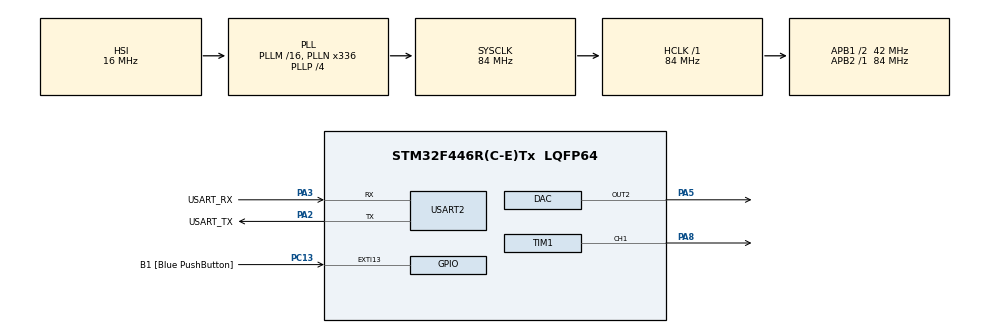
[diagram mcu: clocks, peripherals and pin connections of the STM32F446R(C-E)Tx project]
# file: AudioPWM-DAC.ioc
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DAC.DAC_Trigger2=DAC_TRIGGER_T6_TRGO
Dma.DAC2.1.Direction=DMA_MEMORY_TO_PERIPH
Dma.DAC2.1.FIFOMode=DMA_FIFOMODE_DISABLE
Dma.DAC2.1.Instance=DMA1_Stream6
Dma.DAC2.1.MemDataAlignment=DMA_MDATAALIGN_HALFWORD
Dma.DAC2.1.MemInc=DMA_MINC_ENABLE
Dma.DAC2.1.Mode=DMA_CIRCULAR
Dma.DAC2.1.PeriphDataAlignment=DMA_PDATAALIGN_HALFWORD
Dma.DAC2.1.PeriphInc=DMA_PINC_DISABLE
Dma.DAC2.1.Priority=DMA_PRIORITY_LOW
Dma.Request0=USART2_RX
Dma.Request1=DAC2
Dma.USART2_RX.0.Direction=DMA_PERIPH_TO_MEMORY
Dma.USART2_RX.0.FIFOMode=DMA_FIFOMODE_DISABLE
Dma.USART2_RX.0.Instance=DMA1_Stream5
Dma.USART2_RX.0.MemDataAlignment=DMA_MDATAALIGN_BYTE
Dma.USART2_RX.0.MemInc=DMA_MINC_ENABLE
Dma.USART2_RX.0.Mode=DMA_NORMAL
Dma.USART2_RX.0.PeriphDataAlignment=DMA_PDATAALIGN_BYTE
Dma.USART2_RX.0.PeriphInc=DMA_PINC_DISABLE
Dma.USART2_RX.0.Priority=DMA_PRIORITY_LOW
Mcu.Family=STM32F4
Mcu.Name=STM32F446R(C-E)Tx
Mcu.Package=LQFP64
NVIC.DMA1_Stream5_IRQn=true\:0\:0\:false\:false\:true\:false\:true\:true
NVIC.DMA1_Stream6_IRQn=true\:0\:0\:false\:false\:true\:false\:true\:true
NVIC.PriorityGroup=NVIC_PRIORITYGROUP_0
NVIC.USART2_IRQn=true\:0\:0\:false\:false\:true\:true\:true\:true
PA13.GPIO_Label=TMS
PA13.Mode=Serial_Wire
PA13.Signal=SYS_JTMS-SWDIO
PA14.GPIO_Label=TCK
PA14.Mode=Serial_Wire
PA14.Signal=SYS_JTCK-SWCLK
PA2.GPIO_Label=USART_TX
PA2.Mode=Asynchronous
PA2.Signal=USART2_TX
PA3.GPIO_Label=USART_RX
PA3.Mode=Asynchronous
PA3.Signal=USART2_RX
PA5.Signal=COMP_DAC2_group
PA8.Signal=S_TIM1_CH1
PB3.GPIO_Label=SWO
PB3.Signal=SYS_JTDO-SWO
PC13.GPIO_Label=B1 [Blue PushButton]
PC13.GPIO_ModeDefaultEXTI=GPIO_MODE_IT_FALLING
PC13.Signal=GPXTI13
PC14-OSC32_IN.Mode=LSE-External-Oscillator
PC14-OSC32_IN.Signal=RCC_OSC32_IN
PC15-OSC32_OUT.Mode=LSE-External-Oscillator
PC15-OSC32_OUT.Signal=RCC_OSC32_OUT
PH0-OSC_IN.Mode=HSE-External-Oscillator
PH0-OSC_IN.Signal=RCC_OSC_IN
PH1-OSC_OUT.Mode=HSE-External-Oscillator
PH1-OSC_OUT.Signal=RCC_OSC_OUT
ProjectManager.HeapSize=0x200
ProjectManager.StackSize=0x400
ProjectManager.TargetToolchain=STM32CubeIDE
RCC.48MHZClocksFreq_Value=84000000
RCC.AHBFreq_Value=84000000
RCC.APB1CLKDivider=RCC_HCLK_DIV2
RCC.APB1Freq_Value=42000000
RCC.APB1TimFreq_Value=84000000
RCC.APB2Freq_Value=84000000
RCC.APB2TimFreq_Value=84000000
RCC.CortexFreq_Value=84000000
RCC.FLatency-AdvancedSettings=FLASH_LATENCY_2
RCC.HCLKFreq_Value=84000000
RCC.HSE_VALUE=8000000
RCC.HSI_VALUE=16000000
RCC.PLLN=336
RCC.PLLP=RCC_PLLP_DIV4
RCC.SYSCLKFreq_VALUE=84000000
RCC.SYSCLKSource=RCC_SYSCLKSOURCE_PLLCLK
RCC.USBFreq_Value=168000000
RCC.VCOOutputFreq_Value=336000000
SH.COMP_DAC2_group.0=DAC_OUT2,DAC_OUT2
SH.S_TIM1_CH1.0=TIM1_CH1,PWM Generation1 CH1
TIM1.Channel-PWM\ Generation1\ CH1=TIM_CHANNEL_1
TIM1.Period=100-1
TIM1.Pulse-PWM\ Generation1\ CH1=50
TIM6.Prescaler=1-1
TIM6.TIM_MasterOutputTrigger=TIM_TRGO_UPDATE
USART2.OverSampling=UART_OVERSAMPLING_8
USART2.VirtualMode=VM_ASYNC
VP_TIM1_VS_ClockSourceINT.Mode=Internal
VP_TIM6_VS_ClockSourceINT.Mode=Enable_Timer
board=NUCLEO-F446RE

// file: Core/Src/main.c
/* USER CODE BEGIN Header */
/**
  ******************************************************************************
  * @file           : main.c
  * @brief          : Main program body
  ******************************************************************************
  * @attention
  *
  * Copyright (c) 2026 STMicroelectronics.
  * All rights reserved.
  *
  * This software is licensed under terms that can be found in the LICENSE file
  * in the root directory of this software component.
  * If no LICENSE file comes with this software, it is provided AS-IS.
  *
  ******************************************************************************
  */
/* USER CODE END Header */
#include "main.h"

/* USER CODE BEGIN Includes */
#include "NOTES_PSC.h"
#include <string.h>
#include "math.h"
/* USER CODE END Includes */

DAC_HandleTypeDef hdac;
DMA_HandleTypeDef hdma_dac2;

TIM_HandleTypeDef htim1;
TIM_HandleTypeDef htim6;

UART_HandleTypeDef huart2;
DMA_HandleTypeDef hdma_usart2_rx;

/* USER CODE BEGIN PV */

// Cancion para DAC
int mario_dac_notes[] = {
    659, 659, 0, 659,
    0, 523, 659, 784,
    0, 392, 0,

    523, 392, 0, 330,
    440, 494, 466, 440,
    392, 659, 784, 880,
    698, 784, 0, 659,
    523, 587, 494
};

int mario_dac_durations[] = {
    150, 150, 150, 150,
    150, 150, 150, 300,
    300, 300, 300,

    150, 150, 150, 150,
    150, 150, 150, 150,
    200, 200, 200, 200,
    150, 150, 150, 150,
    150, 150, 300
};

// ------------------------ Cancion para Pwm ------------------------------
uint16_t mk_notes[] = {
    PSC_FS4, PSC_A4, PSC_B4,
    PSC_D5, PSC_CS5, PSC_B4,
    PSC_A4, PSC_FS4,

    PSC_D4, PSC_FS4, PSC_A4,
    PSC_B4, PSC_A4, PSC_FS4,
    PSC_E4, PSC_D4,

    PSC_FS4, PSC_A4, PSC_B4,
    PSC_D5, PSC_CS5, PSC_B4,
    PSC_A4, PSC_FS4,

    PSC_E4, PSC_FS4, PSC_G4,
    PSC_A4, PSC_B4, PSC_A4,
    PSC_FS4,

	PSC_A4, PSC_B4, PSC_C5,
	PSC_B4, PSC_A4, PSC_G4,
	PSC_FS4, PSC_E4,

	PSC_D4, PSC_E4, PSC_FS4,
	PSC_A4, PSC_G4, PSC_FS4,
	PSC_E4, PSC_D4
};

uint16_t mk_durations[] = {
    200, 200, 300,
    200, 200, 300,
    200, 400,

    200, 200, 300,
    200, 200, 300,
    200, 400,

    200, 200, 300,
    200, 200, 300,
    200, 400,

    200, 200, 200,
    200, 300, 200,
    400,

	200, 200, 300,
	200, 200, 200,
	300, 400,

	200, 200, 200,
	300, 200, 200,
	300, 400
};

// ================================================================================

uint8_t rxbuffer;
uint8_t flag;
uint8_t option_selected = 0;

// DAC
#define size 128
uint16_t Ysine[size];

#define PI 3.14159265
#define TIM_FREQ 84000000
#define TIM_PSC 1

char dummy[60];

/* USER CODE END PV */

void SystemClock_Config(void);
static void MX_GPIO_Init(void);
static void MX_DMA_Init(void);
static void MX_TIM1_Init(void);
static void MX_USART2_UART_Init(void);
static void MX_DAC_Init(void);
static void MX_TIM6_Init(void);

/* USER CODE BEGIN 0 */

void play_note(uint16_t psc)
{
    if (psc == 0)
    {
        __HAL_TIM_SET_COMPARE(&htim1, TIM_CHANNEL_1, 0);
        return;
    }

    __HAL_TIM_SET_PRESCALER(&htim1, psc);
    htim1.Instance->EGR = TIM_EGR_UG;  // CLAVE

    __HAL_TIM_SET_COMPARE(&htim1, TIM_CHANNEL_1, 50);
}

void play_melody(uint16_t *notes, uint16_t *durations, uint16_t length)
{
    for (uint16_t i = 0; i < length; i++)
    {
        play_note(notes[i]);
        HAL_Delay(durations[i]);

        // pequeña pausa entre notas (mejora el sonido)
        play_note(PSC_REST);
        HAL_Delay(20);
    }
}

// DMA
void generarSin(void){
	for (int x = 0; x < size; x++){
		Ysine[x] = ((sin(x * 2 * PI / size) + 1) * (4096 / 2));
	}
}

int calcularARR(int freq){
	if (freq == 0){
		return 0;
	}

	int TF = size * freq;
	return ((TIM_FREQ / ((TIM_PSC+1)*TF))-1);

}

void noTone(void)
{
    TIM6->ARR = 0xFFFF;  // frecuencia muy baja (silencio práctico)
}

void playTone(int *tone, int *duration, int *pause, int Nsize)
{
	HAL_DAC_Start_DMA(&hdac, DAC_CHANNEL_2, (uint32_t*)Ysine, size, DAC_ALIGN_12B_R);
    for (int i = 0; i < Nsize; i++)
    {
        int valorARR = calcularARR(tone[i]);   // frecuencia → ARR
        int dur = duration[i];                 // duración de la nota
        int pauseBetweenTones = 0;

        if (pause != NULL)
        {
            pauseBetweenTones = pause[i] - duration[i];
            if (pauseBetweenTones < 0) pauseBetweenTones = 0;
        }

        // Configurar frecuencia (Timer que dispara el DAC)
        TIM6->ARR = valorARR;
        TIM6->CNT = 0;

        HAL_Delay(dur);   // duración de la nota

        // Apagar tono (silencio)
        noTone();

        HAL_Delay(pauseBetweenTones); // pausa entre notas
    }

    HAL_DAC_Stop_DMA(&hdac, DAC_CHANNEL_2);
}

/* USER CODE END 0 */

int main(void)
{

  /* MCU Configuration--------------------------------------------------------*/

  /* Reset of all peripherals, Initializes the Flash interface and the Systick. */
  HAL_Init();

  /* Configure the system clock */
  SystemClock_Config();

  /* Initialize all configured peripherals */
  MX_GPIO_Init();
  MX_DMA_Init();
  MX_TIM1_Init();
  MX_USART2_UART_Init();
  MX_DAC_Init();
  MX_TIM6_Init();
  /* USER CODE BEGIN 2 */

  HAL_TIM_PWM_Start(&htim1, TIM_CHANNEL_1);
  HAL_UART_Receive_DMA(&huart2, &rxbuffer, 1);

  generarSin();

  // Inicializar DAC
  HAL_DAC_Init(&hdac);
  HAL_TIM_Base_Start(&htim6);

  // Inicializar DAC elgiendo el canal
  HAL_DAC_Start_DMA(&hdac, DAC_CHANNEL_2, (uint32_t*)Ysine, size, DAC_ALIGN_12B_R);

  /* USER CODE END 2 */

  /* Infinite loop */
  /* USER CODE BEGIN WHILE */
  while (1)
  {
	  if(!option_selected){
		  // Menu
		  strcpy(dummy, "Bienvenido al selector de canciones \nPresiona 1 si quieres escuchar Mario Kart Wii \nPresiona 2 si quieres escuchar Super Mario Bross");
		  HAL_UART_Transmit(&huart2, dummy, strlen(dummy), 100);
		  option_selected = 1;
	  }

	  if (flag)
	  {
		  flag = 0;

		  switch(rxbuffer)
		  {
			  case '1':
				  play_melody(mk_notes, mk_durations, sizeof(mk_notes)/sizeof(uint16_t));
				  option_selected = 0;
				  break;

			  case '2':
				  playTone(mario_dac_notes, mario_dac_durations, NULL, (sizeof(mario_dac_notes)/sizeof(mario_dac_notes[0])));
				  option_selected = 0;
				  //break;

			  default:
				  strcpy(dummy, "Opcion invalida\r\n");
				  HAL_UART_Transmit(&huart2, dummy, strlen(dummy), 100);
				  break;
		  }
	  }

	  //play_melody(mk_notes, mk_durations, sizeof(mk_notes)/sizeof(uint16_t));
	  //play_note(PSC_REST);

    /* USER CODE END WHILE */

  }
}

void SystemClock_Config(void)
{
  RCC_OscInitTypeDef RCC_OscInitStruct = {0};
  RCC_ClkInitTypeDef RCC_ClkInitStruct = {0};

  /** Configure the main internal regulator output voltage
  */
  __HAL_RCC_PWR_CLK_ENABLE();
  __HAL_PWR_VOLTAGESCALING_CONFIG(PWR_REGULATOR_VOLTAGE_SCALE3);

  /** Initializes the RCC Oscillators according to the specified parameters
  * in the RCC_OscInitTypeDef structure.
  */
  RCC_OscInitStruct.OscillatorType = RCC_OSCILLATORTYPE_HSI;
  RCC_OscInitStruct.HSIState = RCC_HSI_ON;
  RCC_OscInitStruct.HSICalibrationValue = RCC_HSICALIBRATION_DEFAULT;
  RCC_OscInitStruct.PLL.PLLState = RCC_PLL_ON;
  RCC_OscInitStruct.PLL.PLLSource = RCC_PLLSOURCE_HSI;
  RCC_OscInitStruct.PLL.PLLM = 16;
  RCC_OscInitStruct.PLL.PLLN = 336;
  RCC_OscInitStruct.PLL.PLLP = RCC_PLLP_DIV4;
  RCC_OscInitStruct.PLL.PLLQ = 2;
  RCC_OscInitStruct.PLL.PLLR = 2;
  if (HAL_RCC_OscConfig(&RCC_OscInitStruct) != HAL_OK)
  {
    Error_Handler();
  }

  /** Initializes the CPU, AHB and APB buses clocks
  */
  RCC_ClkInitStruct.ClockType = RCC_CLOCKTYPE_HCLK|RCC_CLOCKTYPE_SYSCLK
                              |RCC_CLOCKTYPE_PCLK1|RCC_CLOCKTYPE_PCLK2;
  RCC_ClkInitStruct.SYSCLKSource = RCC_SYSCLKSOURCE_PLLCLK;
  RCC_ClkInitStruct.AHBCLKDivider = RCC_SYSCLK_DIV1;
  RCC_ClkInitStruct.APB1CLKDivider = RCC_HCLK_DIV2;
  RCC_ClkInitStruct.APB2CLKDivider = RCC_HCLK_DIV1;

  if (HAL_RCC_ClockConfig(&RCC_ClkInitStruct, FLASH_LATENCY_2) != HAL_OK)
  {
    Error_Handler();
  }
}

static void MX_DAC_Init(void)
{

  DAC_ChannelConfTypeDef sConfig = {0};

  /** DAC Initialization
  */
  hdac.Instance = DAC;
  if (HAL_DAC_Init(&hdac) != HAL_OK)
  {
    Error_Handler();
  }

  /** DAC channel OUT2 config
  */
  sConfig.DAC_Trigger = DAC_TRIGGER_T6_TRGO;
  sConfig.DAC_OutputBuffer = DAC_OUTPUTBUFFER_ENABLE;
  if (HAL_DAC_ConfigChannel(&hdac, &sConfig, DAC_CHANNEL_2) != HAL_OK)
  {
    Error_Handler();
  }

}

static void MX_TIM1_Init(void)
{

  TIM_ClockConfigTypeDef sClockSourceConfig = {0};
  TIM_MasterConfigTypeDef sMasterConfig = {0};
  TIM_OC_InitTypeDef sConfigOC = {0};
  TIM_BreakDeadTimeConfigTypeDef sBreakDeadTimeConfig = {0};

  htim1.Instance = TIM1;
  htim1.Init.Prescaler = 0;
  htim1.Init.CounterMode = TIM_COUNTERMODE_UP;
  htim1.Init.Period = 100-1;
  htim1.Init.ClockDivision = TIM_CLOCKDIVISION_DIV1;
  htim1.Init.RepetitionCounter = 0;
  htim1.Init.AutoReloadPreload = TIM_AUTORELOAD_PRELOAD_DISABLE;
  if (HAL_TIM_Base_Init(&htim1) != HAL_OK)
  {
    Error_Handler();
  }
  sClockSourceConfig.ClockSource = TIM_CLOCKSOURCE_INTERNAL;
  if (HAL_TIM_ConfigClockSource(&htim1, &sClockSourceConfig) != HAL_OK)
  {
    Error_Handler();
  }
  if (HAL_TIM_PWM_Init(&htim1) != HAL_OK)
  {
    Error_Handler();
  }
  sMasterConfig.MasterOutputTrigger = TIM_TRGO_RESET;
  sMasterConfig.MasterSlaveMode = TIM_MASTERSLAVEMODE_DISABLE;
  if (HAL_TIMEx_MasterConfigSynchronization(&htim1, &sMasterConfig) != HAL_OK)
  {
    Error_Handler();
  }
  sConfigOC.OCMode = TIM_OCMODE_PWM1;
  sConfigOC.Pulse = 50;
  sConfigOC.OCPolarity = TIM_OCPOLARITY_HIGH;
  sConfigOC.OCNPolarity = TIM_OCNPOLARITY_HIGH;
  sConfigOC.OCFastMode = TIM_OCFAST_DISABLE;
  sConfigOC.OCIdleState = TIM_OCIDLESTATE_RESET;
  sConfigOC.OCNIdleState = TIM_OCNIDLESTATE_RESET;
  if (HAL_TIM_PWM_ConfigChannel(&htim1, &sConfigOC, TIM_CHANNEL_1) != HAL_OK)
  {
    Error_Handler();
  }
  sBreakDeadTimeConfig.OffStateRunMode = TIM_OSSR_DISABLE;
  sBreakDeadTimeConfig.OffStateIDLEMode = TIM_OSSI_DISABLE;
  sBreakDeadTimeConfig.LockLevel = TIM_LOCKLEVEL_OFF;
  sBreakDeadTimeConfig.DeadTime = 0;
  sBreakDeadTimeConfig.BreakState = TIM_BREAK_DISABLE;
  sBreakDeadTimeConfig.BreakPolarity = TIM_BREAKPOLARITY_HIGH;
  sBreakDeadTimeConfig.AutomaticOutput = TIM_AUTOMATICOUTPUT_DISABLE;
  if (HAL_TIMEx_ConfigBreakDeadTime(&htim1, &sBreakDeadTimeConfig) != HAL_OK)
  {
    Error_Handler();
  }
  HAL_TIM_MspPostInit(&htim1);

}

static void MX_TIM6_Init(void)
{

  TIM_MasterConfigTypeDef sMasterConfig = {0};

  htim6.Instance = TIM6;
  htim6.Init.Prescaler = 1-1;
  htim6.Init.CounterMode = TIM_COUNTERMODE_UP;
  htim6.Init.Period = 65535;
  htim6.Init.AutoReloadPreload = TIM_AUTORELOAD_PRELOAD_DISABLE;
  if (HAL_TIM_Base_Init(&htim6) != HAL_OK)
  {
    Error_Handler();
  }
  sMasterConfig.MasterOutputTrigger = TIM_TRGO_UPDATE;
  sMasterConfig.MasterSlaveMode = TIM_MASTERSLAVEMODE_DISABLE;
  if (HAL_TIMEx_MasterConfigSynchronization(&htim6, &sMasterConfig) != HAL_OK)
  {
    Error_Handler();
  }

}

static void MX_USART2_UART_Init(void)
{

  huart2.Instance = USART2;
  huart2.Init.BaudRate = 115200;
  huart2.Init.WordLength = UART_WORDLENGTH_8B;
  huart2.Init.StopBits = UART_STOPBITS_1;
  huart2.Init.Parity = UART_PARITY_NONE;
  huart2.Init.Mode = UART_MODE_TX_RX;
  huart2.Init.HwFlowCtl = UART_HWCONTROL_NONE;
  huart2.Init.OverSampling = UART_OVERSAMPLING_8;
  if (HAL_UART_Init(&huart2) != HAL_OK)
  {
    Error_Handler();
  }

}

static void MX_DMA_Init(void)
{

  /* DMA controller clock enable */
  __HAL_RCC_DMA1_CLK_ENABLE();

  /* DMA interrupt init */
  /* DMA1_Stream5_IRQn interrupt configuration */
  HAL_NVIC_SetPriority(DMA1_Stream5_IRQn, 0, 0);
  HAL_NVIC_EnableIRQ(DMA1_Stream5_IRQn);
  /* DMA1_Stream6_IRQn interrupt configuration */
  HAL_NVIC_SetPriority(DMA1_Stream6_IRQn, 0, 0);
  HAL_NVIC_EnableIRQ(DMA1_Stream6_IRQn);

}

static void MX_GPIO_Init(void)
{
  GPIO_InitTypeDef GPIO_InitStruct = {0};

  /* GPIO Ports Clock Enable */
  __HAL_RCC_GPIOC_CLK_ENABLE();
  __HAL_RCC_GPIOH_CLK_ENABLE();
  __HAL_RCC_GPIOA_CLK_ENABLE();
  __HAL_RCC_GPIOB_CLK_ENABLE();

  /*Configure GPIO pin : B1_Pin */
  GPIO_InitStruct.Pin = B1_Pin;
  GPIO_InitStruct.Mode = GPIO_MODE_IT_FALLING;
  GPIO_InitStruct.Pull = GPIO_NOPULL;
  HAL_GPIO_Init(B1_GPIO_Port, &GPIO_InitStruct);

}

/* USER CODE BEGIN 4 */

// Interrupcion de RX con DMA
void HAL_UART_RxCpltCallback(UART_HandleTypeDef *huart)
{
    if (huart == &huart2)
    {
        flag = 1;
        HAL_UART_Receive_DMA(&huart2, &rxbuffer, 1);
    }
}

/* USER CODE END 4 */

void Error_Handler(void)
{
  __disable_irq();
  while (1)
  {
  }
}
